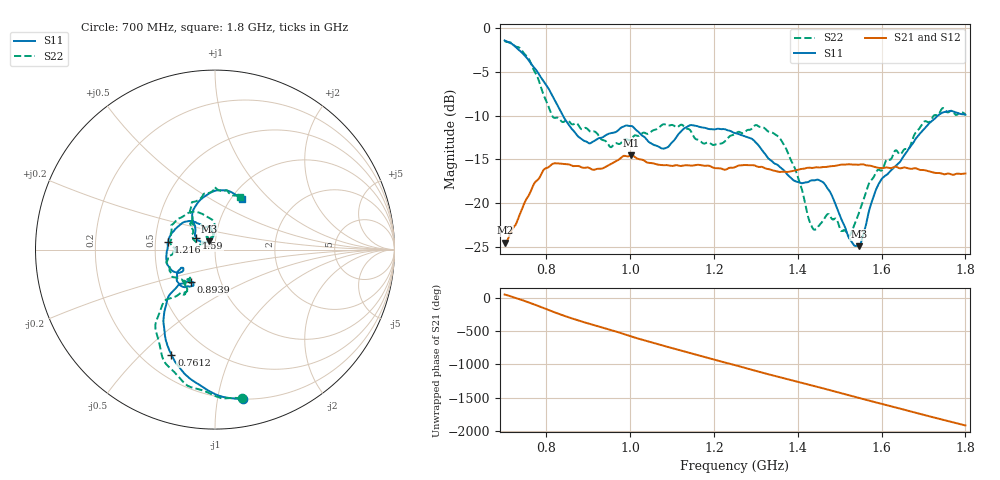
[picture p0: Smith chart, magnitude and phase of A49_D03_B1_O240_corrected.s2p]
! Created with skrf 1.9.0 (http://scikit-rf.org).
# Hz S RI R 50.0
!freq ReS11 ImS11 ReS21 ImS21 ReS12 ImS12 ReS22 ImS22
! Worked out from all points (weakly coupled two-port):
!   1601 points, 700 MHz to 1.8 GHz, reference 50 ohm
!   highest |S21| = -14.56 dB at 1.002 GHz (marker M1); lowest = -24.5 dB at 700.7 MHz (marker M2)
!   lowest |S11| = -24.9 dB at 1.546 GHz (marker M3), VSWR 1.12, Z = 46.5 + j4.25 ohm
!   |S11| at or under -10 dB: 839.1 MHz to 1.735 GHz (895.5 MHz wide, 69.6 % of centre)
!   |S22| runs from -23.8 to -1.5 dB; largest |S21 - S12| = 0.0036
!   S11 on the Smith chart (normalised r, x): 700 MHz: 0.20, -1.19; 761.2 MHz: 0.32, -0.62; 893.9 MHz: 0.72, -0.27; 1.216 GHz: 0.58, +0.06; 1.59 GHz: 0.80, +0.11; 1.8 GHz: 1.13, +0.70
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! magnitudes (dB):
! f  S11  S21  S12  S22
! 700 MHz  -1.4  -24.5  -24.3  -1.5
! 700.7 MHz  -1.4  -24.5  -24.2  -1.5
! 761.2 MHz  -4.0  -18.8  -18.7  -3.9
! 814.8 MHz  -7.8  -15.5  -15.6  -10.1
! 883.6 MHz  -12.7  -15.9  -15.8  -11.6
! 893.9 MHz  -12.9  -16.0  -16.0  -11.4
! 953 MHz  -12.0  -15.6  -15.6  -13.6
! 1.002 GHz  -11.2  -14.6  -14.7  -12.7
! 1.067 GHz  -13.5  -15.6  -15.6  -11.4
! 1.143 GHz  -11.1  -15.7  -15.7  -11.7
! 1.216 GHz  -11.6  -16.1  -16.1  -13.2
! 1.25 GHz  -12.0  -15.9  -15.8  -12.1
! 1.357 GHz  -15.9  -16.4  -16.4  -12.6
! 1.394 GHz  -17.5  -16.3  -16.3  -16.2
! 1.434 GHz  -17.4  -16.0  -16.0  -22.7
! 1.473 GHz  -18.5  -15.8  -15.8  -21.3
! 1.523 GHz  -24.1  -15.6  -15.6  -23.8
! 1.546 GHz  -24.9  -15.6  -15.6  -21.2
! 1.59 GHz  -18.1  -16.0  -15.9  -16.2
! 1.617 GHz  -16.5  -16.0  -15.9  -15.0
! 1.737 GHz  -9.9  -16.6  -16.6  -9.8
! 1.8 GHz  -9.9  -16.6  -16.6  -9.8
